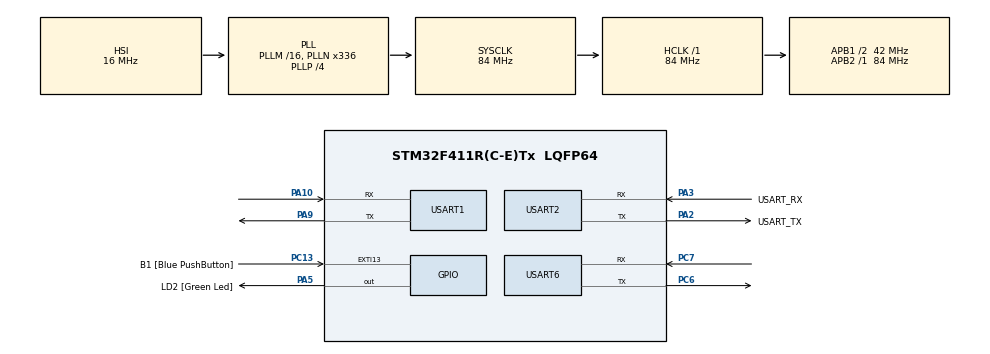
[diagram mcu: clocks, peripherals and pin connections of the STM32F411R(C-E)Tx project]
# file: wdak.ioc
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Mcu.Family=STM32F4
Mcu.Name=STM32F411R(C-E)Tx
Mcu.Package=LQFP64
NVIC.PriorityGroup=NVIC_PRIORITYGROUP_0
NVIC.USART1_IRQn=true\:0\:0\:false\:false\:true\:true\:true\:true
NVIC.USART6_IRQn=true\:0\:0\:false\:false\:true\:true\:true\:true
PA10.Mode=Asynchronous
PA10.Signal=USART1_RX
PA13.GPIO_Label=TMS
PA13.Mode=Serial_Wire
PA13.Signal=SYS_JTMS-SWDIO
PA14.GPIO_Label=TCK
PA14.Mode=Serial_Wire
PA14.Signal=SYS_JTCK-SWCLK
PA2.GPIO_Label=USART_TX
PA2.Mode=Asynchronous
PA2.Signal=USART2_TX
PA3.GPIO_Label=USART_RX
PA3.Mode=Asynchronous
PA3.Signal=USART2_RX
PA5.GPIO_Label=LD2 [Green Led]
PA5.Signal=GPIO_Output
PA9.Mode=Asynchronous
PA9.Signal=USART1_TX
PB3.GPIO_Label=SWO
PB3.Signal=SYS_JTDO-SWO
PC13-ANTI_TAMP.GPIO_Label=B1 [Blue PushButton]
PC13-ANTI_TAMP.GPIO_ModeDefaultEXTI=GPIO_MODE_IT_FALLING
PC13-ANTI_TAMP.Signal=GPXTI13
PC14-OSC32_IN.Mode=LSE-External-Oscillator
PC14-OSC32_IN.Signal=RCC_OSC32_IN
PC15-OSC32_OUT.Mode=LSE-External-Oscillator
PC15-OSC32_OUT.Signal=RCC_OSC32_OUT
PC6.Mode=Asynchronous
PC6.Signal=USART6_TX
PC7.Mode=Asynchronous
PC7.Signal=USART6_RX
PH0\ -\ OSC_IN.Mode=HSE-External-Clock-Source
PH0\ -\ OSC_IN.Signal=RCC_OSC_IN
PH1\ -\ OSC_OUT.Mode=HSE-External-Clock-Source
PH1\ -\ OSC_OUT.Signal=RCC_OSC_OUT
ProjectManager.HeapSize=0x200
ProjectManager.StackSize=0x400
ProjectManager.TargetToolchain=STM32CubeIDE
RCC.48MHZClocksFreq_Value=84000000
RCC.AHBFreq_Value=84000000
RCC.APB1CLKDivider=RCC_HCLK_DIV2
RCC.APB1Freq_Value=42000000
RCC.APB1TimFreq_Value=84000000
RCC.APB2Freq_Value=84000000
RCC.APB2TimFreq_Value=84000000
RCC.CortexFreq_Value=84000000
RCC.FLatency-AdvancedSettings=FLASH_LATENCY_2
RCC.HCLKFreq_Value=84000000
RCC.HSE_VALUE=8000000
RCC.HSI_VALUE=16000000
RCC.PLLN=336
RCC.PLLP=RCC_PLLP_DIV4
RCC.SYSCLKFreq_VALUE=84000000
RCC.SYSCLKSource=RCC_SYSCLKSOURCE_PLLCLK
RCC.VCOOutputFreq_Value=336000000
USART1.VirtualMode=VM_ASYNC
USART2.VirtualMode=VM_ASYNC
USART6.VirtualMode=VM_ASYNC
VP_CRC_VS_CRC.Mode=CRC_Activate
board=NUCLEO-F411RE

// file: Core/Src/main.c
/* USER CODE BEGIN Header */
/**
  ******************************************************************************
  * @file           : main.c
  * @brief          : Главный файл программы
  ******************************************************************************
  * @attention
  *
  * Защищенный протокол UART для STM32F411RE
  *
  ******************************************************************************
  */
/* USER CODE END Header */
#include "main.h"

/* USER CODE BEGIN Includes */
#include "secure_uart.h"
#include "speck.h"
#include "siphash.h"
#include <stdio.h>
#include <string.h>
/* USER CODE END Includes */

CRC_HandleTypeDef hcrc;

UART_HandleTypeDef huart1;
UART_HandleTypeDef huart2;
UART_HandleTypeDef huart6;

/* USER CODE BEGIN PV */
/* Глобальные переменные для защищенного UART протокола */
SecureUartContext g_secure_uart_ctx1;   // Контекст для UART1 (передатчик)
SecureUartContext g_secure_uart_ctx6;   // Контекст для UART6 (приемник)
SecureUartBenchmark g_benchmark;        // Структура для хранения результатов бенчмаркинга

/* Ключи для шифрования и MAC (в реальном приложении должны быть защищены) */
uint8_t g_encryption_key[16] = {
    0x01, 0x23, 0x45, 0x67, 0x89, 0xAB, 0xCD, 0xEF,
    0xFE, 0xDC, 0xBA, 0x98, 0x76, 0x54, 0x32, 0x10
};

uint8_t g_mac_key[16] = {
    0x0F, 0x1E, 0x2D, 0x3C, 0x4B, 0x5A, 0x69, 0x78,
    0x87, 0x96, 0xA5, 0xB4, 0xC3, 0xD2, 0xE1, 0xF0
};

/* Флаг готовности принять новые данные */
volatile uint8_t g_rx_ready = 0;

/* USER CODE END PV */

void SystemClock_Config(void);
static void MX_GPIO_Init(void);
static void MX_USART2_UART_Init(void);
static void MX_CRC_Init(void);
static void MX_USART1_UART_Init(void);
static void MX_USART6_UART_Init(void);
/* USER CODE BEGIN PFP */
void TestSecureUart(void);
/* USER CODE END PFP */

/* USER CODE BEGIN 0 */

/* Переопределение функции _write для вывода через UART2 */
int _write(int file, char *ptr, int len) {
    HAL_UART_Transmit(&huart2, (uint8_t *)ptr, len, HAL_MAX_DELAY);
    return len;
}

/* Обработчик завершения приема по UART */
void HAL_UART_RxCpltCallback(UART_HandleTypeDef *huart) {
    if (huart->Instance == USART6) {
        // Вызываем обработчик пакета для UART6
        SecureUart_RxCpltCallback(&g_secure_uart_ctx6, huart);
        g_rx_ready = 1;
    } else if (huart->Instance == USART1) {
        // Вызываем обработчик пакета для UART1
        SecureUart_RxCpltCallback(&g_secure_uart_ctx1, huart);
        g_rx_ready = 1;
    }
}

/* USER CODE END 0 */

int main(void)
{

  /* MCU Configuration--------------------------------------------------------*/

  /* Reset of all peripherals, Initializes the Flash interface and the Systick. */
  HAL_Init();

  /* Configure the system clock */
  SystemClock_Config();

  /* Initialize all configured peripherals */
  MX_GPIO_Init();
  MX_USART2_UART_Init();
  MX_CRC_Init();
  MX_USART1_UART_Init();
  MX_USART6_UART_Init();
  /* USER CODE BEGIN 2 */

    // Инициализация защищенного UART1 (передатчик)
    if (!SecureUart_Init(&g_secure_uart_ctx1, &huart1, &huart1, &huart2, &hcrc,
                         g_encryption_key, g_mac_key)) {
        printf("[ERROR] Не удалось инициализировать защищенный UART1\r\n");
    }

    // Инициализация защищенного UART6 (приемник)
    if (!SecureUart_Init(&g_secure_uart_ctx6, &huart6, &huart6, &huart2, &hcrc,
                         g_encryption_key, g_mac_key)) {
        printf("[ERROR] Не удалось инициализировать защищенный UART6\r\n");
    }

    // Инициализация структуры бенчмаркинга
    SecureUart_ResetBenchmark(&g_benchmark);

    // Запускаем тестирование
    printf("\r\n*** Тестирование защищенного UART протокола ***\r\n\r\n");

    // Запускаем прием на USART6
    SecureUart_StartReceive(&g_secure_uart_ctx6);

  /* USER CODE END 2 */

  /* Infinite loop */
    while (1)
    {

    /* USER CODE BEGIN 3 */
        TestSecureUart();
        HAL_Delay(50000);  // Пауза между тестами
    }
  /* USER CODE END 3 */
}

void SystemClock_Config(void)
{
  RCC_OscInitTypeDef RCC_OscInitStruct = {0};
  RCC_ClkInitTypeDef RCC_ClkInitStruct = {0};

  /** Configure the main internal regulator output voltage
  */
  __HAL_RCC_PWR_CLK_ENABLE();
  __HAL_PWR_VOLTAGESCALING_CONFIG(PWR_REGULATOR_VOLTAGE_SCALE1);

  /** Initializes the RCC Oscillators according to the specified parameters
  * in the RCC_OscInitTypeDef structure.
  */
  RCC_OscInitStruct.OscillatorType = RCC_OSCILLATORTYPE_HSI;
  RCC_OscInitStruct.HSIState = RCC_HSI_ON;
  RCC_OscInitStruct.HSICalibrationValue = RCC_HSICALIBRATION_DEFAULT;
  RCC_OscInitStruct.PLL.PLLState = RCC_PLL_ON;
  RCC_OscInitStruct.PLL.PLLSource = RCC_PLLSOURCE_HSI;
  RCC_OscInitStruct.PLL.PLLM = 16;
  RCC_OscInitStruct.PLL.PLLN = 336;
  RCC_OscInitStruct.PLL.PLLP = RCC_PLLP_DIV4;
  RCC_OscInitStruct.PLL.PLLQ = 4;
  if (HAL_RCC_OscConfig(&RCC_OscInitStruct) != HAL_OK)
  {
    Error_Handler();
  }

  /** Initializes the CPU, AHB and APB buses clocks
  */
  RCC_ClkInitStruct.ClockType = RCC_CLOCKTYPE_HCLK|RCC_CLOCKTYPE_SYSCLK
                              |RCC_CLOCKTYPE_PCLK1|RCC_CLOCKTYPE_PCLK2;
  RCC_ClkInitStruct.SYSCLKSource = RCC_SYSCLKSOURCE_PLLCLK;
  RCC_ClkInitStruct.AHBCLKDivider = RCC_SYSCLK_DIV1;
  RCC_ClkInitStruct.APB1CLKDivider = RCC_HCLK_DIV2;
  RCC_ClkInitStruct.APB2CLKDivider = RCC_HCLK_DIV1;

  if (HAL_RCC_ClockConfig(&RCC_ClkInitStruct, FLASH_LATENCY_2) != HAL_OK)
  {
    Error_Handler();
  }
}

static void MX_CRC_Init(void)
{

  hcrc.Instance = CRC;
  if (HAL_CRC_Init(&hcrc) != HAL_OK)
  {
    Error_Handler();
  }

}

static void MX_USART1_UART_Init(void)
{

  huart1.Instance = USART1;
  huart1.Init.BaudRate = 115200;
  huart1.Init.WordLength = UART_WORDLENGTH_8B;
  huart1.Init.StopBits = UART_STOPBITS_1;
  huart1.Init.Parity = UART_PARITY_NONE;
  huart1.Init.Mode = UART_MODE_TX_RX;
  huart1.Init.HwFlowCtl = UART_HWCONTROL_NONE;
  huart1.Init.OverSampling = UART_OVERSAMPLING_16;
  if (HAL_UART_Init(&huart1) != HAL_OK)
  {
    Error_Handler();
  }

}

static void MX_USART2_UART_Init(void)
{

  huart2.Instance = USART2;
  huart2.Init.BaudRate = 115200;
  huart2.Init.WordLength = UART_WORDLENGTH_8B;
  huart2.Init.StopBits = UART_STOPBITS_1;
  huart2.Init.Parity = UART_PARITY_NONE;
  huart2.Init.Mode = UART_MODE_TX_RX;
  huart2.Init.HwFlowCtl = UART_HWCONTROL_NONE;
  huart2.Init.OverSampling = UART_OVERSAMPLING_16;
  if (HAL_UART_Init(&huart2) != HAL_OK)
  {
    Error_Handler();
  }

}

static void MX_USART6_UART_Init(void)
{

  huart6.Instance = USART6;
  huart6.Init.BaudRate = 115200;
  huart6.Init.WordLength = UART_WORDLENGTH_8B;
  huart6.Init.StopBits = UART_STOPBITS_1;
  huart6.Init.Parity = UART_PARITY_NONE;
  huart6.Init.Mode = UART_MODE_TX_RX;
  huart6.Init.HwFlowCtl = UART_HWCONTROL_NONE;
  huart6.Init.OverSampling = UART_OVERSAMPLING_16;
  if (HAL_UART_Init(&huart6) != HAL_OK)
  {
    Error_Handler();
  }

}

static void MX_GPIO_Init(void)
{
  GPIO_InitTypeDef GPIO_InitStruct = {0};

  /* GPIO Ports Clock Enable */
  __HAL_RCC_GPIOC_CLK_ENABLE();
  __HAL_RCC_GPIOH_CLK_ENABLE();
  __HAL_RCC_GPIOA_CLK_ENABLE();
  __HAL_RCC_GPIOB_CLK_ENABLE();

  /*Configure GPIO pin Output Level */
  HAL_GPIO_WritePin(LD2_GPIO_Port, LD2_Pin, GPIO_PIN_RESET);

  /*Configure GPIO pin : B1_Pin */
  GPIO_InitStruct.Pin = B1_Pin;
  GPIO_InitStruct.Mode = GPIO_MODE_IT_FALLING;
  GPIO_InitStruct.Pull = GPIO_NOPULL;
  HAL_GPIO_Init(B1_GPIO_Port, &GPIO_InitStruct);

  /*Configure GPIO pin : LD2_Pin */
  GPIO_InitStruct.Pin = LD2_Pin;
  GPIO_InitStruct.Mode = GPIO_MODE_OUTPUT_PP;
  GPIO_InitStruct.Pull = GPIO_NOPULL;
  GPIO_InitStruct.Speed = GPIO_SPEED_FREQ_LOW;
  HAL_GPIO_Init(LD2_GPIO_Port, &GPIO_InitStruct);

}

/* USER CODE BEGIN 4 */

/**
  * @brief Функция тестирования защищенного UART протокола
  * @param None
  * @retval None
  */
void TestSecureUart(void) {
    // Сбрасываем бенчмарки
    SecureUart_ResetBenchmark(&g_benchmark);

    // Подготовка тестовых данных
    uint8_t test_data[64];
    for (int i = 0; i < sizeof(test_data); i++) {
        test_data[i] = i;
    }

    printf("\r\n--- Начало теста ---\r\n");

    // Тест 1: Отправка незашифрованных данных без MAC
    printf("[Тест 1] Отправка незашифрованных данных без MAC\r\n");
    g_rx_ready = 0;

    if (SecureUart_Send(&g_secure_uart_ctx1, test_data, sizeof(test_data), false, false)) {
        printf("  Данные успешно отправлены\r\n");

        // Ждем получения пакета
        uint32_t timeout = HAL_GetTick() + 1000;
        while (!g_rx_ready && HAL_GetTick() < timeout) {
            // Ожидание
        }

        if (g_rx_ready) {
            printf("  Пакет успешно принят\r\n");

            // Выводим результаты бенчмаркинга
            SecureUart_PrintBenchmark(&g_secure_uart_ctx1, &g_benchmark);
        } else {
            printf("  [ERROR] Тайм-аут приема пакета\r\n");
        }
    } else {
        printf("  [ERROR] Ошибка отправки данных\r\n");
    }

    HAL_Delay(1000);

    // Тест 2: Отправка зашифрованных данных с MAC
    printf("[Тест 2] Отправка зашифрованных данных с MAC\r\n");
    g_rx_ready = 0;

    if (SecureUart_Send(&g_secure_uart_ctx1, test_data, sizeof(test_data), true, true)) {
        printf("  Данные успешно отправлены\r\n");

        // Ждем получения пакета
        uint32_t timeout = HAL_GetTick() + 1000;
        while (!g_rx_ready && HAL_GetTick() < timeout) {
            // Ожидание
        }

        if (g_rx_ready) {
            printf("  Пакет успешно принят\r\n");

            // Выводим результаты бенчмаркинга
            SecureUart_PrintBenchmark(&g_secure_uart_ctx1, &g_benchmark);
        } else {
            printf("  [ERROR] Тайм-аут приема пакета\r\n");
        }
    } else {
        printf("  [ERROR] Ошибка отправки данных\r\n");
    }

    HAL_Delay(1000);

    // Тест 3: Отправка зашифрованных данных без MAC
    printf("[Тест 3] Отправка зашифрованных данных без MAC\r\n");
    g_rx_ready = 0;

    if (SecureUart_Send(&g_secure_uart_ctx1, test_data, sizeof(test_data), true, false)) {
        printf("  Данные успешно отправлены\r\n");

        // Ждем получения пакета
        uint32_t timeout = HAL_GetTick() + 1000;
        while (!g_rx_ready && HAL_GetTick() < timeout) {
            // Ожидание
        }

        if (g_rx_ready) {
            printf("  Пакет успешно принят\r\n");

            // Выводим результаты бенчмаркинга
            SecureUart_PrintBenchmark(&g_secure_uart_ctx1, &g_benchmark);
        } else {
            printf("  [ERROR] Тайм-аут приема пакета\r\n");
        }
    } else {
        printf("  [ERROR] Ошибка отправки данных\r\n");
    }

    HAL_Delay(1000);

    // Тест 4: Отправка незашифрованных данных с MAC
    printf("[Тест 4] Отправка незашифрованных данных с MAC\r\n");
    g_rx_ready = 0;

    if (SecureUart_Send(&g_secure_uart_ctx1, test_data, sizeof(test_data), false, true)) {
        printf("  Данные успешно отправлены\r\n");

        // Ждем получения пакета
        uint32_t timeout = HAL_GetTick() + 1000;
        while (!g_rx_ready && HAL_GetTick() < timeout) {
            // Ожидание
        }

        if (g_rx_ready) {
            printf("  Пакет успешно принят\r\n");

            // Выводим результаты бенчмаркинга
            SecureUart_PrintBenchmark(&g_secure_uart_ctx1, &g_benchmark);
        } else {
            printf("  [ERROR] Тайм-аут приема пакета\r\n");
        }
    } else {
        printf("  [ERROR] Ошибка отправки данных\r\n");
    }

    printf("--- Тест завершен ---\r\n");
}

/* USER CODE END 4 */

void Error_Handler(void)
{
    __disable_irq();
    while (1)
    {
    }
}
